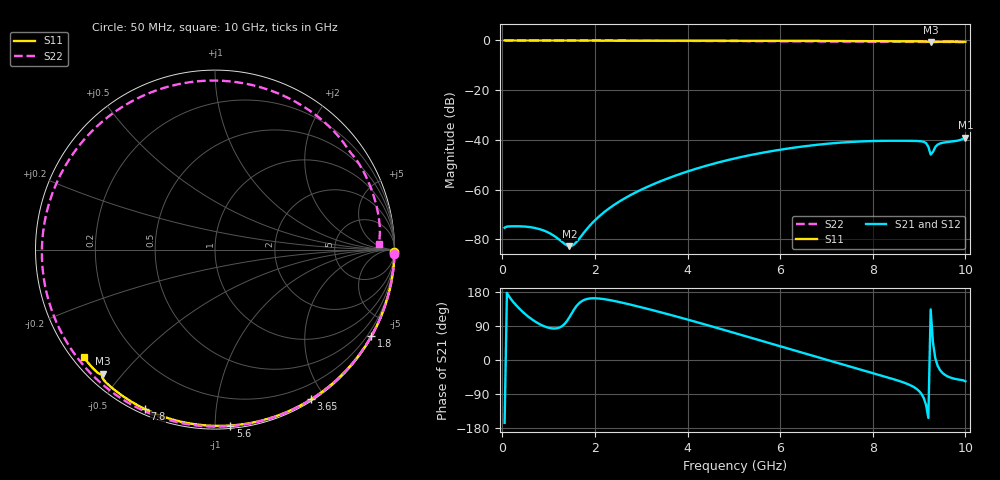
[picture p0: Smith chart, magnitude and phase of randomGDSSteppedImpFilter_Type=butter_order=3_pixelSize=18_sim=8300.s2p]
! freq	dB(S11)	phase(S11)	dB(S12)	phase(S12)
!  dB(S21)	phase(S21)	dB(S22)	phase(S22)
!S-par simulation data
#  GHz  S  DB  R 50
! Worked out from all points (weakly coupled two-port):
!   200 points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, 50 MHz to 10 GHz, reference 50 ohm
!   highest |S21| = -39.05 dB at 10 GHz (marker M1); lowest = -82.7 dB at 1.45 GHz (marker M2)
!   lowest |S11| = -0.6 dB at 9.25 GHz (marker M3), VSWR 28.15, Z = 2.13 - j22.2 ohm
!   |S11| at or under -10 dB: nowhere
!   |S22| runs from -0.8 to 0.0 dB; largest |S21 - S12| = 0
!   S11 on the Smith chart (normalised r, x): 50 MHz: open; 1.8 GHz: 0.03, -3.87; 3.65 GHz: 0.02, -1.83; 5.6 GHz: 0.02, -1.09; 7.8 GHz: 0.02, -0.65; 10 GHz: 0.03, -0.36
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0.05  -0.00 -0.8  -75.26 -165.9  -75.26 -165.9  -0.00 -1.6
0.65  -0.01 -10.6  -75.17 106.3  -75.17 106.3  -0.02 -20.2
1.25  -0.02 -20.2  -80.36 86.4  -80.36 86.4  -0.05 -38.5
1.45  -0.03 -23.4  -82.68 112.9  -82.68 112.9  -0.06 -44.6
1.65  -0.03 -26.6  -79.94 148.8  -79.94 148.8  -0.06 -50.6
1.75  -0.04 -28.2  -77.54 157.6  -77.54 157.6  -0.07 -53.6
1.8  -0.04 -29.0  -76.38 160.0  -76.38 160.0  -0.07 -55.1
2.45  -0.05 -39.1  -65.65 155.0  -65.65 155.0  -0.10 -74.4
3.4  -0.07 -53.6  -56.71 126.6  -56.71 126.6  -0.14 -102.5
3.65  -0.08 -57.3  -54.92 118.4  -54.92 118.4  -0.15 -109.8
5.05  -0.12 -77.4  -47.29 70.1  -47.29 70.1  -0.24 -152.4
5.6  -0.14 -85.0  -45.19 50.5  -45.19 50.5  -0.29 -170.4
6.15  -0.16 -92.4  -43.49 30.9  -43.49 30.9  -0.34 170.4
6.7  -0.19 -99.6  -42.14 11.3  -42.14 11.3  -0.40 149.8
7.2  -0.22 -106.1  -41.22 -6.5  -41.22 -6.5  -0.45 129.5
7.8  -0.26 -113.7  -40.55 -27.7  -40.55 -27.7  -0.50 103.2
8.35  -0.31 -120.7  -40.33 -47.1  -40.33 -47.1  -0.54 77.7
9.1  -0.40 -130.5  -40.73 -100.1  -40.73 -100.1  -0.60 42.2
9.2  -0.52 -132.0  -42.74 -152.8  -42.74 -152.8  -0.64 37.6
9.25  -0.62 -132.1  -45.85 133.6  -45.85 133.6  -0.64 35.5
9.45  -0.47 -133.7  -41.43 -26.3  -41.43 -26.3  -0.59 26.2
10  -0.49 -140.8  -39.05 -56.3  -39.05 -56.3  -0.79 2.1
